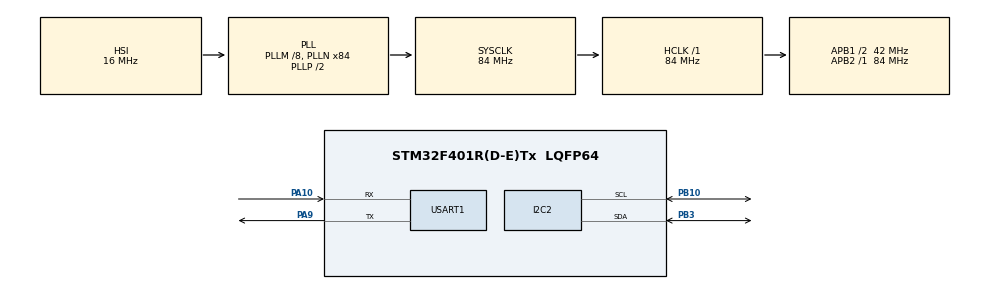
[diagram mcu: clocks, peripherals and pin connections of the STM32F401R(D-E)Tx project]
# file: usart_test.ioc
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I2C2.I2C_Mode=I2C_Fast
Mcu.Family=STM32F4
Mcu.Name=STM32F401R(D-E)Tx
Mcu.Package=LQFP64
NVIC.I2C2_ER_IRQn=true\:0\:0\:false\:false\:true\:true\:true
NVIC.I2C2_EV_IRQn=true\:0\:0\:false\:false\:true\:true\:true
NVIC.PriorityGroup=NVIC_PRIORITYGROUP_4
NVIC.USART1_IRQn=true\:0\:0\:false\:false\:true\:true\:true
PA10.Mode=Asynchronous
PA10.Signal=USART1_RX
PA9.Mode=Asynchronous
PA9.Signal=USART1_TX
PB10.Mode=I2C
PB10.Signal=I2C2_SCL
PB3.Mode=I2C
PB3.Signal=I2C2_SDA
PH0\ -\ OSC_IN.Mode=HSE-External-Clock-Source
PH0\ -\ OSC_IN.Signal=RCC_OSC_IN
PH1\ -\ OSC_OUT.Mode=HSE-External-Clock-Source
PH1\ -\ OSC_OUT.Signal=RCC_OSC_OUT
ProjectManager.HeapSize=0x200
ProjectManager.StackSize=0x400
ProjectManager.TargetToolchain=MDK-ARM V5.32
RCC.48MHZClocksFreq_Value=42000000
RCC.AHBFreq_Value=84000000
RCC.APB1CLKDivider=RCC_HCLK_DIV2
RCC.APB1Freq_Value=42000000
RCC.APB1TimFreq_Value=84000000
RCC.APB2Freq_Value=84000000
RCC.APB2TimFreq_Value=84000000
RCC.CortexFreq_Value=84000000
RCC.HCLKFreq_Value=84000000
RCC.HSE_VALUE=25000000
RCC.HSI_VALUE=16000000
RCC.LSE_VALUE=32768
RCC.PLLM=8
RCC.PLLN=84
RCC.SYSCLKFreq_VALUE=84000000
RCC.SYSCLKSource=RCC_SYSCLKSOURCE_PLLCLK
RCC.VCOOutputFreq_Value=168000000
USART1.VirtualMode=VM_ASYNC
board=custom

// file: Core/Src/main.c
/* USER CODE BEGIN Header */
/**
  ******************************************************************************
  * @file           : main.c
  * @brief          : Main program body
  ******************************************************************************
  * @attention
  *
  * Copyright (c) 2022 STMicroelectronics.
  * All rights reserved.
  *
  * This software is licensed under terms that can be found in the LICENSE file
  * in the root directory of this software component.
  * If no LICENSE file comes with this software, it is provided AS-IS.
  *
  ******************************************************************************
  */
/* USER CODE END Header */
#include "main.h"
#include "i2c.h"
#include "usart.h"
#include "gpio.h"

/* USER CODE BEGIN Includes */
#include "mpu6050.h"
#include "stdio.h"
/* USER CODE END Includes */

/* USER CODE BEGIN PTD */
#ifdef __GNUC__
#define PUTCHAR_PROTOTYPE int __io_putchar(int ch)
#else
#define PUTCHAR_PROTOTYPE int fputc(int ch,FILE *f)
#endif /* __GNUC__ */

//重定向printf函数
int fputc(int ch,FILE *f)
{
    HAL_UART_Transmit(&huart1,(uint8_t *)&ch,1,0xFFFF);//输出指向串口USART1
    return ch;
}

void SystemClock_Config(void);

int main(void)
{

  /* MCU Configuration--------------------------------------------------------*/

  /* Reset of all peripherals, Initializes the Flash interface and the Systick. */
  HAL_Init();

  /* Configure the system clock */
  SystemClock_Config();

  /* Initialize all configured peripherals */
  MX_GPIO_Init();
  MX_USART1_UART_Init();
  MX_I2C2_Init();
  /* USER CODE BEGIN 2 */
	MPU6050_init(hi2c2);
  /* USER CODE END 2 */

  /* Infinite loop */
  /* USER CODE BEGIN WHILE */
	float *A;
	float *G;
	float tmp;
  while (1)
  {
		A=MPU6050_Read_Accel();
		G=MPU6050_Read_Gyro();
		tmp=MPU6050_Read_Temp();
		printf("Accel: %f %f %f\n",A[0],A[1],A[2]);
		printf("\n");
		printf("Gypo : %f %f %f\n",G[0],G[1],G[2]);
		printf("\n");
		printf("temp : %f\n",tmp);
		printf("\n");
		HAL_Delay(1000);
    /* USER CODE END WHILE */

  }
}

void SystemClock_Config(void)
{
  RCC_OscInitTypeDef RCC_OscInitStruct = {0};
  RCC_ClkInitTypeDef RCC_ClkInitStruct = {0};

  /** Configure the main internal regulator output voltage
  */
  __HAL_RCC_PWR_CLK_ENABLE();
  __HAL_PWR_VOLTAGESCALING_CONFIG(PWR_REGULATOR_VOLTAGE_SCALE2);
  /** Initializes the RCC Oscillators according to the specified parameters
  * in the RCC_OscInitTypeDef structure.
  */
  RCC_OscInitStruct.OscillatorType = RCC_OSCILLATORTYPE_HSI;
  RCC_OscInitStruct.HSIState = RCC_HSI_ON;
  RCC_OscInitStruct.HSICalibrationValue = RCC_HSICALIBRATION_DEFAULT;
  RCC_OscInitStruct.PLL.PLLState = RCC_PLL_ON;
  RCC_OscInitStruct.PLL.PLLSource = RCC_PLLSOURCE_HSI;
  RCC_OscInitStruct.PLL.PLLM = 8;
  RCC_OscInitStruct.PLL.PLLN = 84;
  RCC_OscInitStruct.PLL.PLLP = RCC_PLLP_DIV2;
  RCC_OscInitStruct.PLL.PLLQ = 4;
  if (HAL_RCC_OscConfig(&RCC_OscInitStruct) != HAL_OK)
  {
    Error_Handler();
  }
  /** Initializes the CPU, AHB and APB buses clocks
  */
  RCC_ClkInitStruct.ClockType = RCC_CLOCKTYPE_HCLK|RCC_CLOCKTYPE_SYSCLK
                              |RCC_CLOCKTYPE_PCLK1|RCC_CLOCKTYPE_PCLK2;
  RCC_ClkInitStruct.SYSCLKSource = RCC_SYSCLKSOURCE_PLLCLK;
  RCC_ClkInitStruct.AHBCLKDivider = RCC_SYSCLK_DIV1;
  RCC_ClkInitStruct.APB1CLKDivider = RCC_HCLK_DIV2;
  RCC_ClkInitStruct.APB2CLKDivider = RCC_HCLK_DIV1;

  if (HAL_RCC_ClockConfig(&RCC_ClkInitStruct, FLASH_LATENCY_2) != HAL_OK)
  {
    Error_Handler();
  }
}

void Error_Handler(void)
{
  __disable_irq();
  while (1)
  {
  }
}
